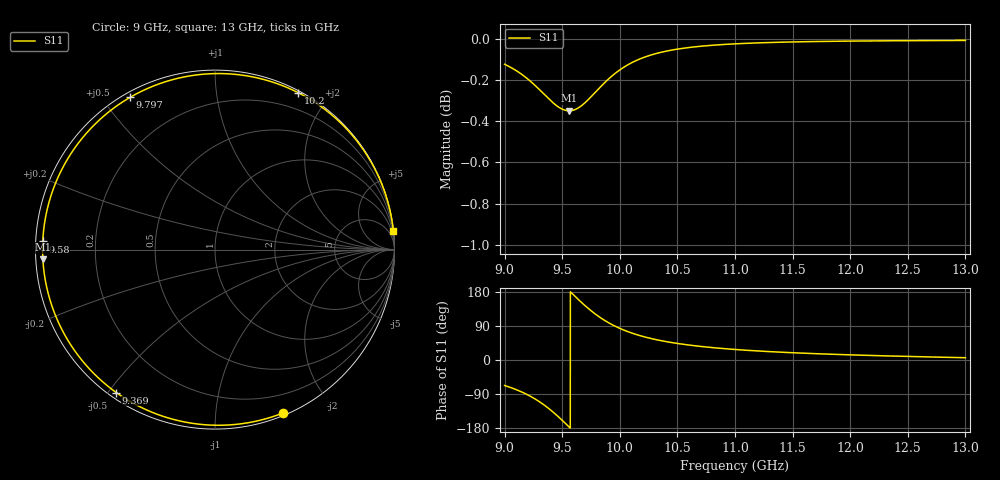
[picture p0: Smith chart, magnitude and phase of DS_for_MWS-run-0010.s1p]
! TOUCHSTONE file generated by CST DESIGN STUDIO
! Date and time: Tue Feb  4 17:45:12 2025
! Project name: C:\Work\MatlabApps\UnitCellOptimizationMatlab\CST\unitcell.cst
! Tree item: Tasks\Sweep1\SPara1\S-Parameters
! Header version: 2024
! Port assignment regex: !\s*Touchstone port\s*([0-9]+)\s*=\s*(CST MWS port|CST DES external port|CST DES block port)\s*(.+)\s* \(\"(.*)\"\)(\s*mode\s*([0-9]+))?.*
! Touchstone port assignment:
! Touchstone port 1 = CST DES external port 1 ("")
# GHz S MA R 50
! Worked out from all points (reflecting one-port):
!   4001 points, 9 GHz to 13 GHz, reference 50 ohm
!   lowest |S11| = -0.3 dB at 9.56 GHz (marker M1), VSWR 49.82, Z = 1 - j1.41 ohm
!   phase of S11 starts at -67 deg and turns -287 deg over the sweep
!   S11 on the Smith chart (normalised r, x): 9 GHz: 0.02, -1.50; 9.369 GHz: 0.02, -0.52; 9.58 GHz: 0.02, +0.02; 9.797 GHz: 0.02, +0.59; 10.2 GHz: 0.02, +1.66; 13 GHz: 0, +19
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9  0.986 -67.3
9.042  0.9846 -71.5
9.108  0.9822 -79.1
9.221  0.9768 -95.2
9.299  0.9723 -109.4
9.369  0.968 -124.6
9.433  0.9643 -140.6
9.5  0.9615 -159.2
9.56  0.9606 -176.8
9.58  0.9607 177.3
9.635  0.962 161.1
9.696  0.9649 144.0
9.746  0.9679 131.1
9.797  0.9713 119.1
9.841  0.9742 109.8
9.888  0.9771 100.9
9.94  0.98 92.2
10  0.9829 83.4
10.096  0.9866 72.0
10.2  0.9896 62.2
10.338  0.9923 52.3
10.5  0.9944 43.6
10.721  0.9961 35.2
11  0.9973 27.8
11.5  0.9984 19.2
12  0.9989 13.6
12.5  0.9991 9.4
13  0.9992 6.0
